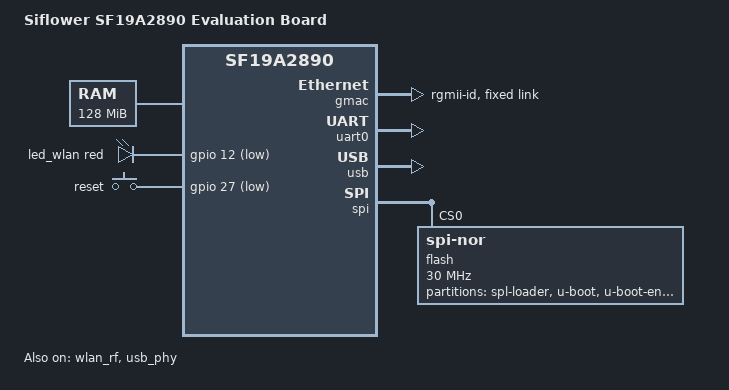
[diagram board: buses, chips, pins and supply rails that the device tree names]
/dts-v1/;
#include <dt-bindings/input/input.h>
#include <dt-bindings/leds/common.h>
#include "sf19a2890.dtsi"

/ {
	model = "Siflower SF19A2890 Evaluation Board";
	compatible = "siflower,sf19a2890-evb", "siflower,sf19a2890";

	aliases {
		led-boot = &led_wlan;
		led-failsafe = &led_wlan;
		led-running = &led_wlan;
		led-upgrade = &led_wlan;
	};

	chosen {
		stdout-path = "serial0:115200n8";
	};

	memory@0 {
		device_type = "memory";
		reg = <0x0 0x8000000>;
	};

	leds {
		compatible = "gpio-leds";

		led_wlan: wlan {
			function = LED_FUNCTION_WLAN;
			color = <LED_COLOR_ID_RED>;
			gpios = <&gpio 12 GPIO_ACTIVE_LOW>;
		};
	};

	keys {
		compatible = "gpio-keys";

		reset {
			label = "reset";
			gpios = <&gpio 27 GPIO_ACTIVE_LOW>;
			linux,code = <KEY_RESTART>;
		};
	};

	rtl8367rb {
		compatible = "realtek,rtl8367b";
		realtek,extif = <6 0 0 1 1 1 1 1 1 2>;
		mii-bus = <&mdio>;
		phy-id = <0>;
	};
};

&gmac {
	status = "okay";
	phy-mode = "rgmii-id";
	snps,ps-speed = <1000>;
	nvmem-cells = <&macaddr_factory_0>, <&rgmii_delay_factory_b2>;
	nvmem-cell-names = "mac-address", "rgmii-delay";
	fixed-link {
		speed = <1000>;
		full-duplex;
		pause;
	};
};

&wlan_rf {
	status = "okay";
};

&uart0 {
	status = "okay";
};

&usb {
	status = "okay";
};

&usb_phy {
	status = "okay";
};

&spi {
        status = "okay";
        flash@0 {
                compatible = "jedec,spi-nor";
                reg = <0>;
                spi-max-frequency = <30000000>;

                #address-cells = <1>;
                #size-cells = <1>;

                partitions {
                        compatible = "fixed-partitions";
                        #address-cells = <1>;
                        #size-cells = <1>;

                        partition@0 {
                                label = "spl-loader";
                                reg = <0x00000000 0x00008000>; /* 32k */
                                read-only;
                        };

                        partition@8000 {
                                label = "u-boot";
                                reg = <0x00008000 0x00006F000>; /* 444k */
                        };

                        partition@6f000 {
                                label = "u-boot-env";
                                reg = <0x0006F000 0x00001000>; /* 4k */
                        };

                        factory: partition@70000 {
                                label = "factory";
                                reg = <0x00070000 0x00010000>; /* 64k */

                                nvmem-layout {
                                        compatible = "fixed-layout";
                                        #address-cells = <1>;
                                        #size-cells = <1>;

                                        macaddr_factory_0: macaddr@0 {
                                                reg = <0x0 0x6>;
                                        };

                                        rgmii_delay_factory_b2: rgmii-delay@b2 {
                                                reg = <0xb2 0x4>;
                                        };
                                };
                        };

                        firmware@80000 {
                                compatible = "denx,uimage";
                                label = "firmware";
                                reg = <0x00080000 0x000750000>; /* 7.25MB */
                        };

                        partition@7d0000 {
                                label = "CFM";
                                reg = <0x007d0000 0x00010000>; /* 64k */
                        };

                        partition@7e0000 {
                                label = "CFM_BACKUP";
                                reg = <0x007e0000 0x00010000>; /* 64k */
                        };

                        partition@7f0000 {
                                label = "CFG";
                                reg = <0x007f0000 0x00010000>; /* 64k */
                        };
                };
        };
};
